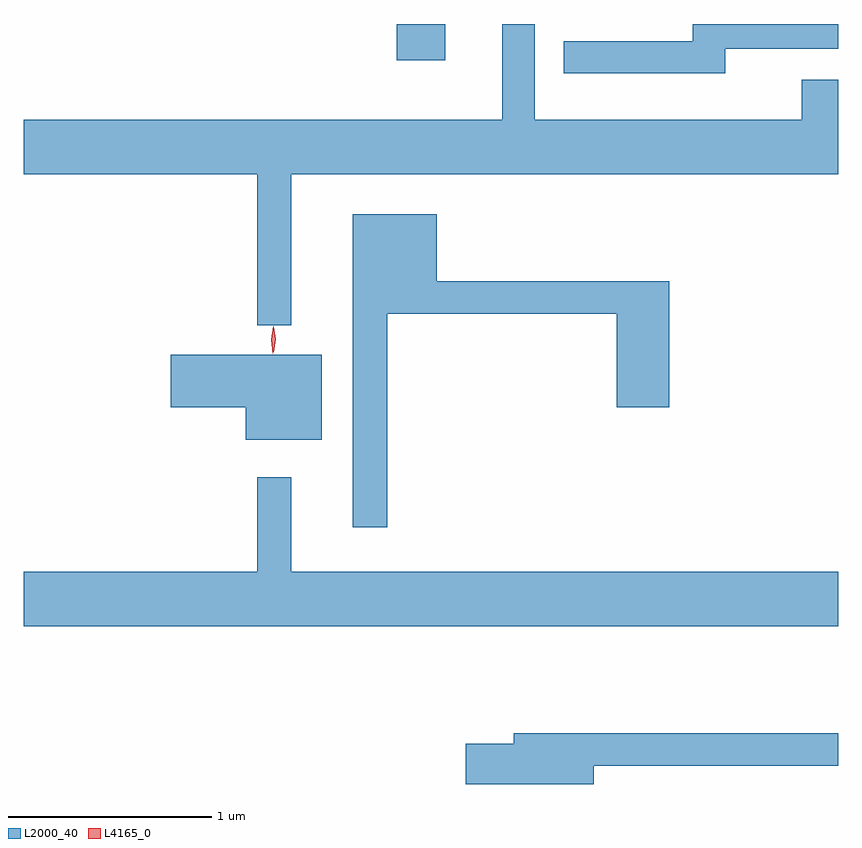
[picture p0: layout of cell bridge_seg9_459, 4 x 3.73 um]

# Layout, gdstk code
import gdstk
lib = gdstk.Library(unit=1e-6, precision=1e-09)
def R(c, l, rs):  # rectangles x0, y0, x1, y1
    for r in rs: c.add(gdstk.rectangle(r[:2], r[2:], *l))
def P(c, l, *ps):  # polygons
    for p in ps: c.add(gdstk.Polygon(p, *l))
L2000_40 = (2000, 40)
L4165_0 = (4165, 0)

bridge_seg9_459 = lib.new_cell('bridge_seg9_459')
R(bridge_seg9_459, L2000_40, [(657.076,1999.036,657.314,1999.213)])
P(bridge_seg9_459, L2000_40, [(656.559,1998.476),(659.245,1998.476),(659.245,1998.939),(659.066,1998.939),(659.066,1998.744),(657.754,1998.744),(657.754,1999.213),(657.596,1999.213),(657.596,1998.744),(655.245,1998.744),(655.245,1998.476),(656.391,1998.476),(656.391,1997.733),(656.559,1997.733)],
  [(658.689,1999.091),(659.245,1999.091),(659.245,1999.213),(658.531,1999.213),(658.531,1999.129),(657.898,1999.129),(657.898,1998.971),(658.689,1998.971)],
  [(657.029,1997.791),(658.156,1997.791),(658.156,1997.331),(658.414,1997.331),(658.414,1997.949),(657.274,1997.949),(657.274,1998.279),(656.861,1998.279),(656.861,1996.743),(657.029,1996.743)],
  [(656.709,1997.589),(655.966,1997.589),(655.966,1997.331),(656.336,1997.331),(656.336,1997.171),(656.709,1997.171)],
  [(659.245,1996.524),(656.559,1996.524),(656.559,1996.988),(656.391,1996.988),(656.391,1996.524),(655.245,1996.524),(655.245,1996.256),(659.245,1996.256)],
  [(658.044,1995.571),(659.245,1995.571),(659.245,1995.729),(657.651,1995.729),(657.651,1995.679),(657.416,1995.679),(657.416,1995.481),(658.044,1995.481)])
P(bridge_seg9_459, L4165_0, [(656.468,1997.594),(656.46,1997.662),(656.47,1997.73),(656.47,1997.73),(656.471,1997.73),(656.48,1997.662),(656.469,1997.594),(656.469,1997.594)],
  [(656.472,1997.6),(656.463,1997.664),(656.472,1997.726),(656.473,1997.727),(656.473,1997.726),(656.483,1997.664),(656.473,1997.6),(656.473,1997.6)])

lib.write_gds('bridge_seg9_459.gds')
